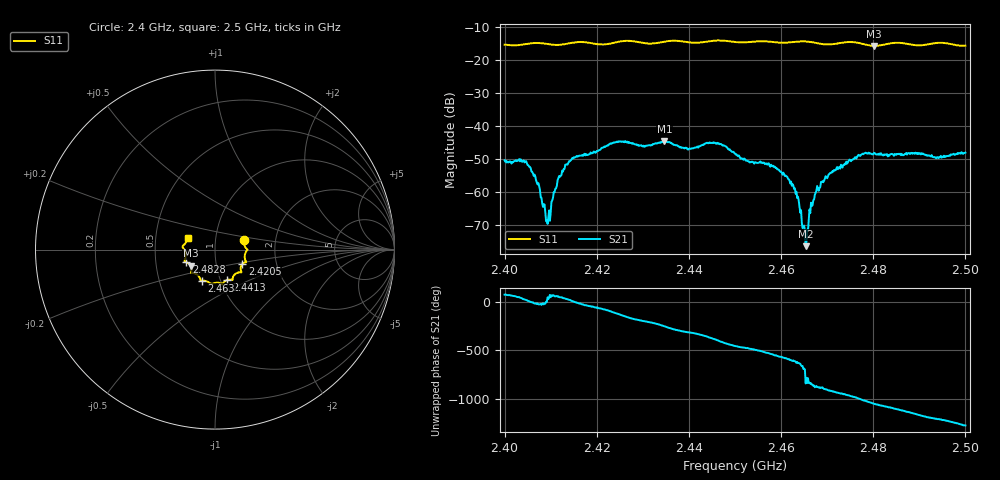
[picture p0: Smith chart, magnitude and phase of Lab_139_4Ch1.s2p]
# Hz S RI R 50
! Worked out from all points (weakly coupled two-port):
!   601 points, 2.4 GHz to 2.5 GHz, reference 50 ohm
!   highest |S21| = -44.50 dB at 2.4347 GHz (marker M1); lowest = -76.3 dB at 2.4653 GHz (marker M2)
!   lowest |S11| = -15.7 dB at 2.4802 GHz (marker M3), VSWR 1.39, Z = 37.5 - j6.96 ohm
!   |S11| at or under -10 dB: start of sweep to end of sweep
!   S12 and S22 are empty: the file has one direction only
!   S11 on the Smith chart (normalised r, x): 2.4 GHz: 1.38, +0.15; 2.4205 GHz: 1.34, -0.22; 2.4413 GHz: 1.08, -0.38; 2.463 GHz: 0.82, -0.29; 2.4828 GHz: 0.72, -0.10; 2.5 GHz: 0.73, +0.10
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2.4e9  0.1624 0.0524  0.000629 0.00297  0 0  0 0
2.405167e9  0.1768 0.00346  0.00248 0.000539  0 0  0 0
2.407e9  0.1807 -0.000474  0.00131 -0.000472  0 0  0 0
2.4095e9  0.1733 -0.0109  0.00035 0.000221  0 0  0 0
2.412e9  0.1657 -0.0365  0.00107 0.00134  0 0  0 0
2.416667e9  0.1737 -0.0695  0.00334 -0.00126  0 0  0 0
2.4205e9  0.1518 -0.0809  0.00196 -0.00387  0 0  0 0
2.424667e9  0.1455 -0.1197  -0.00317 -0.00494  0 0  0 0
2.433333e9  0.1007 -0.1516  -0.00362 0.00426  0 0  0 0
2.434667e9  0.0981 -0.162  -0.00215 0.00556  0 0  0 0
2.441333e9  0.0669 -0.1694  0.00384 0.00277  0 0  0 0
2.445833e9  0.0424 -0.1922  0.00484 -0.00249  0 0  0 0
2.45e9  0.0248 -0.1855  -0.000204 -0.00384  0 0  0 0
2.4585e9  -0.0336 -0.1831  -0.00236 0.000351  0 0  0 0
2.463e9  -0.0723 -0.1737  -0.000356 0.00109  0 0  0 0
2.465333e9  -0.0801 -0.1728  -7.9e-05 -0.000131  0 0  0 0
2.466667e9  -0.0813 -0.1674  -0.000415 -0.000456  0 0  0 0
2.470833e9  -0.1065 -0.1353  -0.00186 0.000631  0 0  0 0
2.480167e9  -0.1362 -0.0904  0.00351 0.00179  0 0  0 0
2.482833e9  -0.1588 -0.07  0.00371 -7.99e-05  0 0  0 0
2.483333e9  -0.1626 -0.0683  0.00359 -0.000528  0 0  0 0
2.5e9  -0.1516 0.0644  -0.00382 0.00109  0 0  0 0
